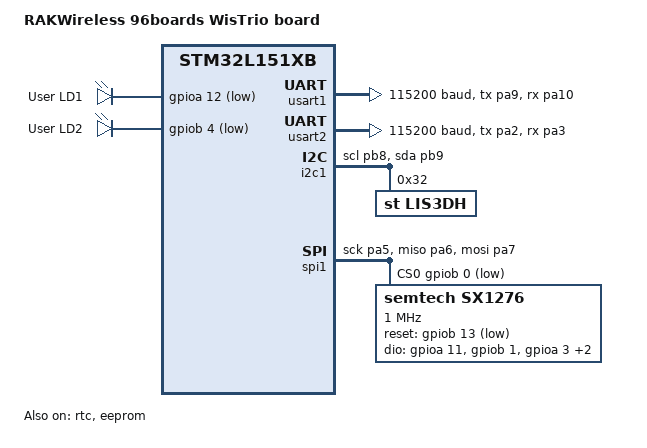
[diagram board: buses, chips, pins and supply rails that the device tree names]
/*
 * Copyright (c) 2019 Linaro Limited
 *
 * SPDX-License-Identifier: Apache-2.0
 */

/dts-v1/;
#include <st/l1/stm32l151Xb-a.dtsi>
#include <st/l1/stm32l151c(6-8-b)uxa-pinctrl.dtsi>
#include "96b_lscon.dtsi"

/ {
	model = "RAKWireless 96boards WisTrio board";
	compatible = "rak,wistrio";

	chosen {
		zephyr,console = &usart1;
		zephyr,shell-uart = &usart1;
		zephyr,sram = &sram0;
		zephyr,flash = &flash0;
	};

	leds {
		compatible = "gpio-leds";
		green_led_0: led_0 {
			gpios = <&gpioa 12 GPIO_ACTIVE_LOW>;
			label = "User LD1";
		};
		blue_led_0: led_1 {
			gpios = <&gpiob 4 GPIO_ACTIVE_LOW>;
			label = "User LD2";
		};
	};

	aliases {
		led0 = &green_led_0;
		eeprom-0 = &eeprom;
		lora0 = &lora;
	};
};

&usart1 {
	pinctrl-0 = <&usart1_tx_pa9 &usart1_rx_pa10>;
	current-speed = <115200>;
	status = "okay";
};

&usart2 {
	pinctrl-0 = <&usart2_tx_pa2 &usart2_rx_pa3>;
	current-speed = <115200>;
	status = "okay";
};

&i2c1 {
	pinctrl-0 = <&i2c1_scl_pb8 &i2c1_sda_pb9>;
	status = "okay";

	lis3dh@32 {
		compatible = "st,lis3dh";
		reg = <0x32>;
		label = "LIS3DH";
	};
};

&spi1 {
	pinctrl-0 = <&spi1_sck_pa5 &spi1_miso_pa6 &spi1_mosi_pa7>;
	status = "okay";
	cs-gpios = <&gpiob 0 GPIO_ACTIVE_LOW>;

	lora: sx1276@0 {
		compatible = "semtech,sx1276";
		reg = <0>;
		label = "sx1276";
		reset-gpios = <&gpiob 13 (GPIO_PULL_UP | GPIO_ACTIVE_LOW)>;
		dio-gpios = <&gpioa 11 (GPIO_PULL_DOWN | GPIO_ACTIVE_HIGH)>,
			<&gpiob 1 (GPIO_PULL_DOWN | GPIO_ACTIVE_HIGH)>,
			<&gpioa 3 (GPIO_PULL_DOWN | GPIO_ACTIVE_HIGH)>,
			<&gpioh 0 (GPIO_PULL_DOWN | GPIO_ACTIVE_HIGH)>,
			<&gpioc 13 (GPIO_PULL_DOWN | GPIO_ACTIVE_HIGH)>;
		spi-max-frequency = <1000000>;
		power-amplifier-output = "pa-boost";
	};
};

&rtc {
	status = "okay";
};

&eeprom {
	status = "okay";
};
